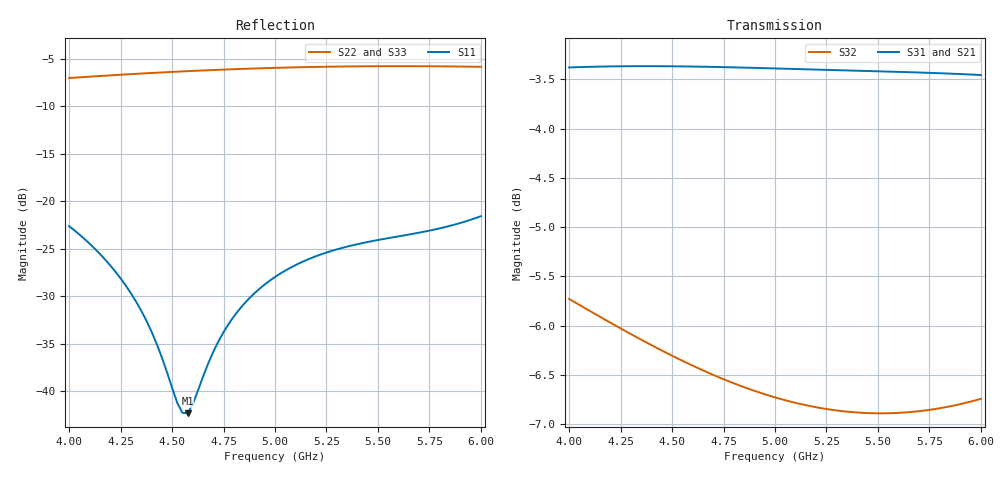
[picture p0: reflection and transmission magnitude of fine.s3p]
! yapnr rf: divider-osh-w-star-s21-guard, footprint re-simulated (refine 2)
! spec sha256 03d733a7fbe4f4bffe69570845329ad34bf43d2be3787ac8cdc4bcb0e68c03df
! 3 ports renormalized to 50 ohm, e^(+jwt) convention
# GHz S RI R 50
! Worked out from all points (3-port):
!   85 points, 4 GHz to 6 GHz, reference 50 ohm
!   strongest paths, dB at 4 GHz, 4.5 GHz, 5 GHz, 5.5 GHz, 6 GHz:
!     S31: -3.4, -3.4, -3.4, -3.4, -3.5
!     S21: -3.4, -3.4, -3.4, -3.4, -3.5
!     S32: -5.7, -6.3, -6.7, -6.9, -6.7
!   lowest |S11| = -42.3 dB at 4.575 GHz (marker M1), VSWR 1.02, Z = 50.1 - j0.763 ohm
!   |S11| at or under -10 dB: start of sweep to end of sweep
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4  0.0541 0.0505  -0.6767 0.0409  -0.6767 0.0409
   -0.6765 0.0404  0.2189 -0.3864  -0.2695 0.4413
   -0.6765 0.0404  -0.2695 0.4413  0.2189 -0.3864
4.3  0.031 0.0109  -0.6438 0.2148  -0.6438 0.2148
     -0.6441 0.2139  0.1061 -0.4532  -0.1267 0.4798
     -0.6441 0.2139  -0.1267 0.4798  0.1061 -0.4532
4.425  0.0178 0.000158  -0.6164 0.2839  -0.6164 0.2839
       -0.6169 0.2829  0.0547 -0.4704  -0.0681 0.4836
       -0.6169 0.2829  -0.0681 0.4836  0.0547 -0.4704
4.525  0.00665 -0.00566  -0.5889 0.3367  -0.5889 0.3367
       -0.5897 0.3358  0.0125 -0.4795  -0.0223 0.4819
       -0.5897 0.3358  -0.0223 0.4819  0.0125 -0.4795
4.575  0.000991 -0.00762  -0.5734 0.3622  -0.5734 0.3622
       -0.5743 0.3612  -0.00873 -0.4825  7.86e-05 0.4797
       -0.5743 0.3612  7.86e-05 0.4797  -0.00873 -0.4825
4.775  -0.0208 -0.00907  -0.5004 0.4565  -0.5004 0.4565
       -0.5018 0.4557  -0.0936 -0.4839  0.086 0.4617
       -0.5018 0.4557  0.086 0.4617  -0.0936 -0.4839
5  -0.04 0.000498  -0.3995 0.5454  -0.3995 0.5454
   -0.4014 0.5451  -0.1857 -0.4665  0.1745 0.4266
   -0.4014 0.5451  0.1745 0.4266  -0.1857 -0.4665
5.225  -0.049 0.0191  -0.2825 0.6127  -0.2825 0.6127
       -0.2846 0.6131  -0.2699 -0.431  0.2533 0.3781
       -0.2846 0.6131  0.2533 0.3781  -0.2699 -0.431
5.525  -0.0391 0.0497  -0.1086 0.6639  -0.1086 0.6639
       -0.1106 0.6654  -0.364 -0.3606  0.3427 0.2952
       -0.1106 0.6654  0.3427 0.2952  -0.364 -0.3606
6  0.0332 0.0765  0.182 0.6438  0.182 0.6438
   0.1817 0.6467  -0.4597 -0.2174  0.4428 0.125
   0.1817 0.6467  0.4428 0.125  -0.4597 -0.2174
